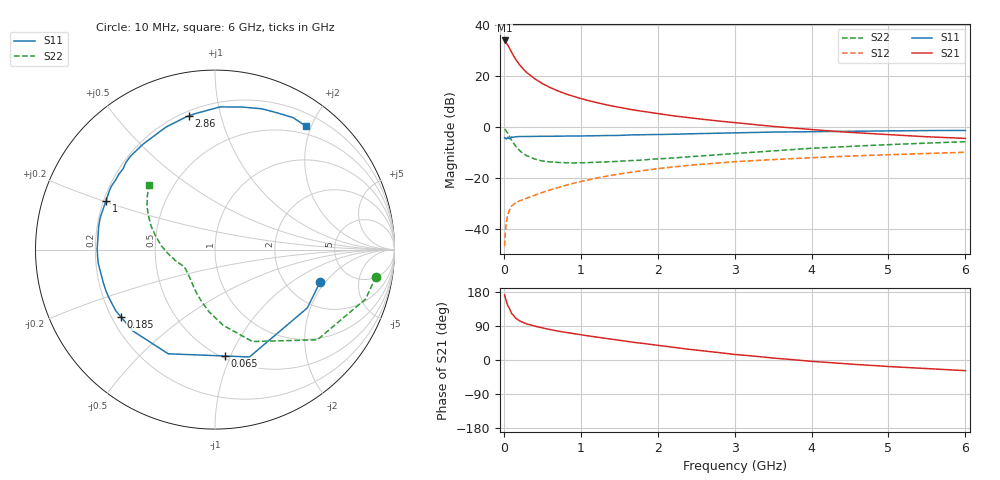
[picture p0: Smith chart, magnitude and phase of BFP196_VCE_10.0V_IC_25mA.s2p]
! Infineon Technologies  Discrete & RF Semiconductors
! BFP196
! VCE = 10.0V,  IC =  25mA
! Common Emitter S-Parameters:  Jan 2016
# GHz  S  MA  R  50
!  f  S11  S21  S12  S22
! GHz  MAG  ANG  MAG  ANG  MAG  ANG  MAG  ANG
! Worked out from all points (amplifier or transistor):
!   210 points, 10 MHz to 6 GHz, reference 50 ohm
!   highest |S21| = 34.1 dB at 10 MHz (marker M1)
!   |S21| within 3 dB of that: start of sweep to 71.27 MHz
!   unconditionally stable (mu >= 1): 682.3 MHz to 4.412 GHz
!   at 185 MHz: K = 0.50, MSG = 27.3 dB, |S12| = -29.3 dB
!   at 1.52 GHz: K = 1.10, MAG = 11.1 dB, |S12| = -18.4 dB
!   at 6 GHz: K = 0.96, MSG = 2.7 dB, |S12| = -9.9 dB
!   S11 on the Smith chart (normalised r, x): 10 MHz: 3.07, -1.76; 65 MHz: 0.52, -0.95; 185 MHz: 0.24, -0.30; 1 GHz: 0.21, +0.20; 2.86 GHz: 0.23, +0.80; 6 GHz: 0.38, +1.92
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0.01  0.6132 -17.0  50.54 171.8  0.0045 77.4  0.909 -9.5
0.02  0.6084 -32.3  48.11 163.2  0.0087 72.0  0.8834 -18.2
0.05  0.6282 -72.2  41.35 143.7  0.019 59.5  0.7599 -41.4
0.065  0.5955 -84.6  37.36 138.8  0.0215 54.6  0.6844 -47.6
0.1  0.6364 -114.2  29.53 122.8  0.0277 46.8  0.5528 -67.9
0.15  0.6442 -135.3  21.75 111.1  0.0319 42.3  0.4244 -83.8
0.185  0.6445 -144.5  18.47 106.2  0.0341 41.8  0.3703 -91.3
0.2  0.6497 -148.4  17.12 103.6  0.035 41.6  0.3495 -95.2
0.24  0.6489 -155.8  14.53 99.8  0.0367 42.2  0.3091 -102.3
0.3  0.6491 -163.7  11.71 94.9  0.0398 43.7  0.2712 -111.0
0.4  0.6553 -173.6  8.926 89.3  0.0454 46.6  0.2339 -121.6
0.5  0.6567 179.9  7.162 84.6  0.0513 49.4  0.2143 -129.5
0.7  0.6607 168.8  5.157 76.3  0.064 52.2  0.2005 -139.9
1  0.6652 156.0  3.629 66.6  0.0842 53.5  0.1967 -148.9
1.02  0.6662 155.2  3.564 66.0  0.0856 53.4  0.1973 -149.3
1.4  0.6808 141.8  2.599 54.9  0.1118 51.5  0.2075 -156.7
2.02  0.7125 122.9  1.817 38.3  0.1525 45.3  0.236 -167.4
2.86  0.759 101.1  1.279 18.1  0.1998 35.0  0.2903 177.8
3.1  0.7698 96.0  1.176 13.0  0.2113 31.8  0.3075 173.8
4.1  0.811 77.7  0.867 -4.9  0.2521 20.1  0.3872 158.2
5.1  0.8404 64.0  0.693 -18.3  0.2881 9.3  0.4558 146.1
6  0.8546 53.7  0.596 -28.1  0.3184 -0.4  0.5131 135.7
